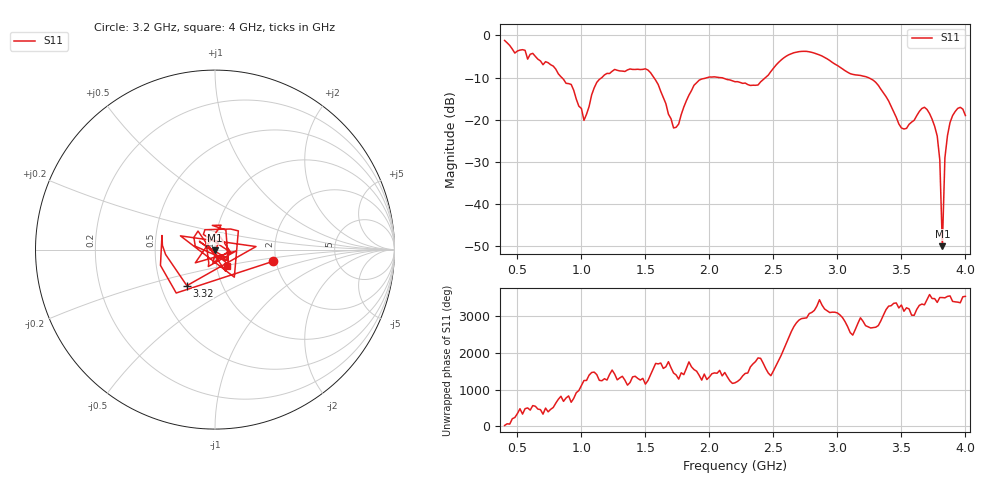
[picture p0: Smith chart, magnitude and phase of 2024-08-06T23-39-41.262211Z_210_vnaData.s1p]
!Created with skrf (http://scikit-rf.org).
# Hz S RI R 50.0
!freq ReS11 ImS11
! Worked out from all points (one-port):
!   181 points, 400 MHz to 4 GHz, reference 50 ohm
!   lowest |S11| = -50.1 dB at 3.82 GHz (marker M1), VSWR 1.01, Z = 50 - j0.313 ohm
!   |S11| at or under -10 dB: 1.566 GHz to 1.986 GHz (419.9 MHz wide, 23.6 % of centre); 2.076 GHz to 2.44 GHz (364.8 MHz wide, 16.2 % of centre); 3.24 GHz to end of sweep (the widest 3 of 4)
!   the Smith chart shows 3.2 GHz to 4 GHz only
!   S11 on the Smith chart (normalised r, x): 3.2 GHz: 1.92, -0.28; 3.32 GHz: 0.68, -0.29; 4 GHz: 1.12, -0.20
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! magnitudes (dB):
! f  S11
! 400 MHz  -1.2
! 860 MHz  -10.4
! 920 MHz  -11.6
! 1.02 GHz  -20.2
! 1.12 GHz  -11.2
! 1.3 GHz  -8.4
! 1.52 GHz  -8.2
! 1.6 GHz  -11.7
! 1.72 GHz  -22.0
! 1.76 GHz  -21.0
! 1.92 GHz  -10.6
! 2.2 GHz  -11.0
! 2.38 GHz  -11.8
! 2.66 GHz  -4.1
! 2.86 GHz  -4.6
! 3.1 GHz  -9.1
! 3.2 GHz  -9.7
! 3.32 GHz  -11.9
! 3.5 GHz  -22.0
! 3.56 GHz  -21.1
! 3.68 GHz  -17.1
! 3.76 GHz  -21.6
! 3.8 GHz  -29.6
! 3.82 GHz  -50.1
! 3.84 GHz  -29.1
! 3.86 GHz  -23.8
! 3.94 GHz  -17.3
! 4 GHz  -19.0
